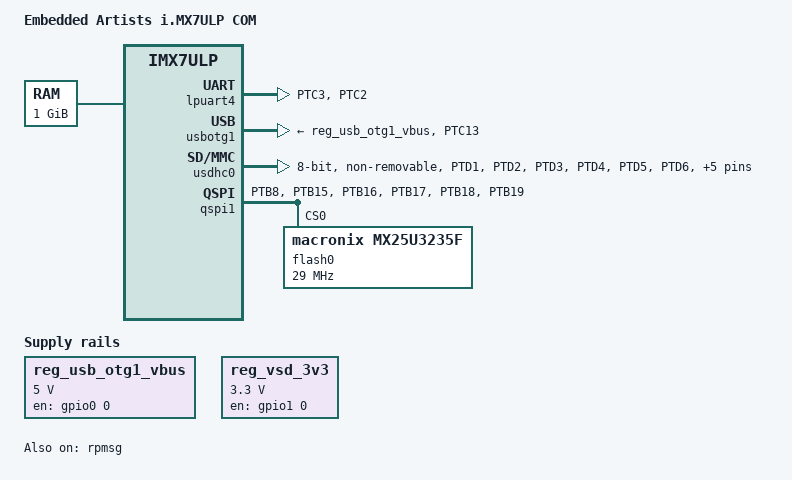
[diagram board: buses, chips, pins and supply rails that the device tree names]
// SPDX-License-Identifier: GPL-2.0
//
// Copyright 2019 NXP
// Author: Fabio Estevam <fabio.estevam@nxp.com>

/dts-v1/;

#include "imx7ulp.dtsi"
#include "imx7ulp-com-u-boot.dtsi"

/ {
	model = "Embedded Artists i.MX7ULP COM";
	compatible = "ea,imx7ulp-com", "fsl,imx7ulpea-ucom", "fsl,imx7ulp";

	chosen {
		bootargs = "console=ttyLP0,115200 earlycon=lpuart32,0x402D0000,115200";
		stdout-path = "serial0:115200n8";
	};

	memory {
		device_type = "memory";
		reg = <0x60000000 0x40000000>;
	};

	regulators {
		compatible = "simple-bus";
		#address-cells = <1>;
		#size-cells = <0>;

		reg_usb_otg1_vbus: regulator@0 {
			compatible = "regulator-fixed";
			reg = <0>;
			pinctrl-names = "default";
			pinctrl-0 = <&pinctrl_usbotg1_vbus>;
			regulator-name = "usb_otg1_vbus";
			regulator-min-microvolt = <5000000>;
			regulator-max-microvolt = <5000000>;
			gpio = <&gpio0 0 GPIO_ACTIVE_HIGH>;
			enable-active-high;
		};

		reg_vsd_3v3: regulator@1 {
			compatible = "regulator-fixed";
			reg = <1>;
			regulator-name = "VSD_3V3";
			regulator-min-microvolt = <3300000>;
			regulator-max-microvolt = <3300000>;
			gpio = <&gpio1 0 GPIO_ACTIVE_HIGH>;
			enable-active-high;
		};
	};
};

&lpuart4 {
	pinctrl-names = "default";
	pinctrl-0 = <&pinctrl_lpuart4>;
	status = "okay";
};

&rpmsg {
	status = "okay";
};

&usbotg1 {
	vbus-supply = <&reg_usb_otg1_vbus>;
	pinctrl-names = "default";
	pinctrl-0 = <&pinctrl_usbotg1_id>;
	srp-disable;
	hnp-disable;
	adp-disable;
	status = "okay";
};

&usbphy1 {
	fsl,tx-d-cal = <88>;
};

&usdhc0 {
	pinctrl-names = "default";
	pinctrl-0 = <&pinctrl_usdhc0>;
	non-removable;
	bus-width = <8>;
	no-1-8-v;
	status = "okay";
};

&qspi1 {
	pinctrl-names = "default";
	pinctrl-0 = <&pinctrl_qspi1_1>;
	status = "okay";

	flash0: mx25u3235f@0 {
		reg = <0>;
		#address-cells = <1>;
		#size-cells = <1>;
		compatible = "macronix,mx25u3235f";
		spi-max-frequency = <29000000>;
	};
};

&iomuxc {
	pinctrl_qspi1_1: qspi1grp_1 {
			fsl,pins = <
			IMX7ULP_PAD_PTB8__QSPIA_SS0_B   0x43 /* SS0 */
			IMX7ULP_PAD_PTB15__QSPIA_SCLK   0x43
			IMX7ULP_PAD_PTB16__QSPIA_DATA3  0x43 /* D3 */
			IMX7ULP_PAD_PTB17__QSPIA_DATA2  0x43 /* D2 */
			IMX7ULP_PAD_PTB18__QSPIA_DATA1  0x43 /* D1 */
			IMX7ULP_PAD_PTB19__QSPIA_DATA0  0x43 /* D0 */
		>;
	 };
};

&iomuxc1 {
	pinctrl-names = "default";
	pinctrl-0 = <&pinctrl_hog_1 &pinctrl_sys_reset>;

	pinctrl_hog_1: hoggrp-1 {
		fsl,pins = <
			IMX7ULP_PAD_PTC1__PTC1		0x20000
		>;
	};

	pinctrl_lpuart4: lpuart4grp {
		fsl,pins = <
			IMX7ULP_PAD_PTC3__LPUART4_RX	0x3
			IMX7ULP_PAD_PTC2__LPUART4_TX	0x3
		>;
	};

	pinctrl_usdhc0: usdhc0grp {
		fsl,pins = <
			IMX7ULP_PAD_PTD1__SDHC0_CMD	0x43
			IMX7ULP_PAD_PTD2__SDHC0_CLK	0x10042
			IMX7ULP_PAD_PTD3__SDHC0_D7	0x43
			IMX7ULP_PAD_PTD4__SDHC0_D6	0x43
			IMX7ULP_PAD_PTD5__SDHC0_D5	0x43
			IMX7ULP_PAD_PTD6__SDHC0_D4	0x43
			IMX7ULP_PAD_PTD7__SDHC0_D3	0x43
			IMX7ULP_PAD_PTD8__SDHC0_D2	0x43
			IMX7ULP_PAD_PTD9__SDHC0_D1	0x43
			IMX7ULP_PAD_PTD10__SDHC0_D0	0x43
			IMX7ULP_PAD_PTD11__SDHC0_DQS	0x42
		>;
	};

	pinctrl_usbotg1_vbus: otg1vbusgrp {
		fsl,pins = <
			IMX7ULP_PAD_PTC0__PTC0		0x20000
		>;
	};

	pinctrl_usbotg1_id: otg1idgrp {
		fsl,pins = <
			IMX7ULP_PAD_PTC13__USB0_ID	0x10003
		>;
	};

	pinctrl_sys_reset: sysrstgrp {
		fsl,pins = <
			IMX7ULP_PAD_PTC10__PTC10        0x20000 /* SYS_RESET */
		>;
	};
};
